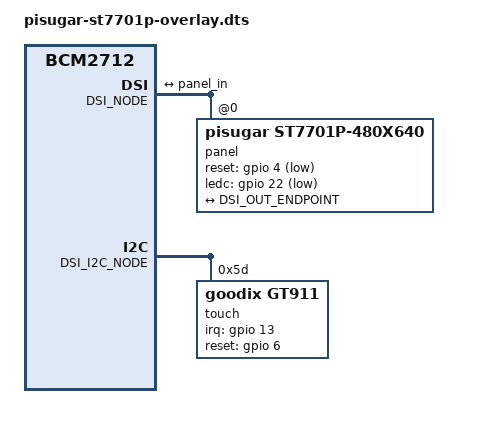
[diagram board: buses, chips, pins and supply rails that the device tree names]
/*
 * Device Tree Overlay for PiSugar 2.8" ST7701P MIPI-DSI display
 *
 * Panel:  ST7701P 480x640, 2-lane MIPI-DSI on selected DSI port
 * Touch:  GT911 @ 0x5d on matching i2c_csi_dsi bus
 *
 * GPIO allocation:
 *   GPIO4   - Panel reset   (active-low)
 *   GPIO22  - Backlight      (active-low)
 *   GPIO6   - Touch reset   (active-low)
 *   GPIO13  - Touch IRQ     (active-low, falling-edge interrupt)
 *
 * Touch uses the in-tree Goodix driver. The driver temporarily drives the INT
 * line low during reset to select the GT911 I2C address 0x5d, then switches it
 * back to an active-low interrupt input.
 */

#ifndef DSI_PORT
#define DSI_PORT 0
#endif

#if DSI_PORT == 1
#define DSI_NODE dsi1
#define DSI_I2C_NODE i2c_csi_dsi1
#define DSI_OUT_ENDPOINT dsi1_out_panel
#else
#define DSI_NODE dsi0
#define DSI_I2C_NODE i2c_csi_dsi0
#define DSI_OUT_ENDPOINT dsi0_out_panel
#endif

/dts-v1/;
/plugin/;

/ {
	compatible = "brcm,bcm2712";

	/* Fragment 0: MIPI-DSI panel on selected port */
	fragment@0 {
		target = <&DSI_NODE>;
		__overlay__ {
			status = "okay";
			#address-cells = <1>;
			#size-cells = <0>;

			panel@0 {
				compatible = "pisugar,st7701p-480x640";
				reg = <0>;
				reset-gpios = <&gpio 4 1>;  /* GPIO4, active-low */
				ledc-gpios = <&gpio 22 1>;  /* GPIO22, active-low */
				status = "okay";

				port {
					panel_in: endpoint {
						remote-endpoint = <&DSI_OUT_ENDPOINT>;
					};
				};
			};

			ports {
				#address-cells = <1>;
				#size-cells = <0>;

				port@0 {
					reg = <0>;
					DSI_OUT_ENDPOINT: endpoint {
						remote-endpoint = <&panel_in>;
						data-lanes = <0 1>;
					};
				};
			};
		};
	};

	/* Fragment 1: GT911 GPIO pin configuration */
	fragment@1 {
		target = <&gpio>;
		__overlay__ {
			gt911_pins: gt911_pins {
				brcm,pins = <6 13>;
				brcm,function = <0 0>; /* inputs */
				brcm,pull = <2 2>;     /* pull-up */
			};
		};
	};

	/* Fragment 2: GT911 touch on DSI connector I2C bus */
	fragment@2 {
		target = <&DSI_I2C_NODE>;
		__overlay__ {
			status = "okay";
			#address-cells = <1>;
			#size-cells = <0>;

			touch@5d {
				compatible = "goodix,gt911";
				reg = <0x5d>;
				pinctrl-names = "default";
				pinctrl-0 = <&gt911_pins>;
				interrupt-parent = <&gpio>;
				interrupts = <13 2>;       /* falling edge */
				irq-gpios = <&gpio 13 0>;  /* GPIO13, active-high GPIO semantics */
				reset-gpios = <&gpio 6 0>; /* GPIO6, active-high GPIO semantics */
				touchscreen-size-x = <480>;
				touchscreen-size-y = <640>;
				touchscreen-inverted-x;
				touchscreen-inverted-y;
				status = "okay";
			};
		};
	};
};
